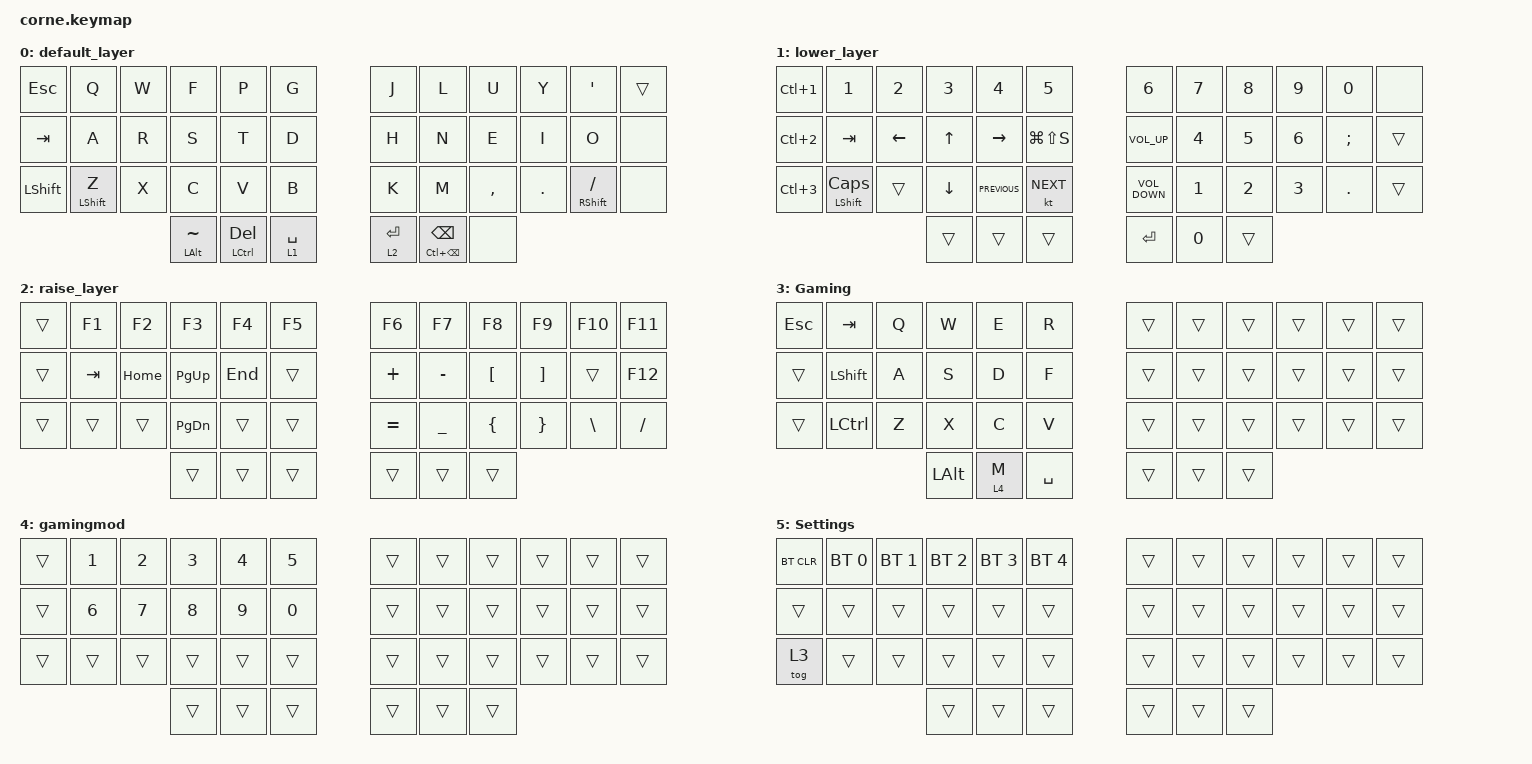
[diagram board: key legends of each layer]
/*
 * Copyright (c) 2020 The ZMK Contributors
 *
 * SPDX-License-Identifier: MIT
 */

#include <dt-bindings/zmk/mouse.h>
#include <behaviors.dtsi>
#include <dt-bindings/zmk/bt.h>
#include <dt-bindings/zmk/keys.h>

/ {
    combos {
        compatible = "zmk,combos";

        esc {
            bindings = <&kp ESC>;
            key-positions = <1 2>;
        };

        settingsmenu {
            bindings = <&mo 5>;
            key-positions = <36 37 38>;
        };

        left_win {
            bindings = <&kp LEFT_WIN>;
            key-positions = <40 39>;
        };

        ctrl_alt_del {
            bindings = <&kp LC(LA(DELETE))>;
            key-positions = <37 29 38 36>;
        };

        mouse_jump {
            bindings = <&kp LG(LS(D))>;
            key-positions = <0 12 24>;
        };

        clear_all_bluetooth {
            bindings = <&bt BT_CLR_ALL>;
            key-positions = <0 1 2 3 4 5 36 37 38>;
        };
    };

    keymap {
        compatible = "zmk,keymap";

        default_layer {
            // -----------------------------------------------------------------------------------------
            // |  TAB |  Q  |  W  |  E  |  R  |  T  |   |  Y  |  U   |  I  |  O  |  P  | BKSP |
            // | CTRL |  A  |  S  |  D  |  F  |  G  |   |  H  |  J   |  K  |  L  |  ;  |  '   |
            // | SHFT |  Z  |  X  |  C  |  V  |  B  |   |  N  |  M   |  ,  |  .  |  /  | ESC  |
            //                    | GUI | LWR | SPC |   | ENT | RSE  | ALT |

            bindings = <
&kp ESC         &kp Q             &kp W  &kp F               &kp P             &kp G          &kp J      &kp L                        &kp U      &kp Y    &kp APOS              &trans
&kp TAB         &kp A             &kp R  &kp S               &kp T             &kp D          &kp H      &kp N                        &kp E      &kp I    &kp O                 &none
&kp LEFT_SHIFT  &mt LEFT_SHIFT Z  &kp X  &kp C               &kp V             &kp B          &kp K      &kp M                        &kp COMMA  &kp DOT  &mt RIGHT_SHIFT FSLH  &none
                                         &mt LEFT_ALT TILDE  &mt LCTRL DELETE  &lt 1 SPACE    &lt 2 RET  &mt LC(BACKSPACE) BACKSPACE  &none
            >;
        };

        lower_layer {
            // -----------------------------------------------------------------------------------------
            // |  TAB |  1  |  2  |  3  |  4  |  5  |   |  6  |  7  |  8  |  9  |  0  | BKSP |
            // | BTCLR| BT1 | BT2 | BT3 | BT4 | BT5 |   | LFT | DWN |  UP | RGT |     |      |
            // | SHFT |     |     |     |     |     |   |     |     |     |     |     |      |
            //                    | GUI |     | SPC |   | ENT |     | ALT |

            bindings = <
&kp LC(NUMBER_1)  &kp N1               &kp N2          &kp N3          &kp N4           &kp N5           &kp N6             &kp N7  &kp N8  &kp N9  &kp N0      &none
&kp LC(NUMBER_2)  &kp TAB              &kp LEFT_ARROW  &kp UP          &kp RIGHT_ARROW  &kp LG(LS(S))    &kp C_VOLUME_UP    &kp N4  &kp N5  &kp N6  &kp SEMI    &trans
&kp LC(NUMBER_3)  &mt LEFT_SHIFT CAPS  &trans          &kp DOWN_ARROW  &kp C_PREVIOUS   &kt C_NEXT       &kp C_VOLUME_DOWN  &kp N1  &kp N2  &kp N3  &kp PERIOD  &trans
                                                       &trans          &trans           &trans           &kp RET            &kp N0  &trans
            >;
        };

        raise_layer {
            // -----------------------------------------------------------------------------------------
            // |  TAB |  !  |  @  |  #  |  $  |  %  |   |  ^  |  &  |  *  |  (  |  )  | BKSP |
            // | CTRL |     |     |     |     |     |   |  -  |  =  |  [  |  ]  |  \  |  `   |
            // | SHFT |     |     |     |     |     |   |  _  |  +  |  {  |  }  | "|" |  ~   |
            //                    | GUI |     | SPC |   | ENT |     | ALT |

            bindings = <
&trans  &kp F1   &kp F2    &kp F3         &kp F4   &kp F5    &kp F6     &kp F7     &kp F8            &kp F9             &kp F10        &kp F11
&trans  &kp TAB  &kp HOME  &kp PG_UP      &kp END  &trans    &kp PLUS   &kp MINUS  &kp LEFT_BRACKET  &kp RIGHT_BRACKET  &trans         &kp F12
&trans  &trans   &trans    &kp PAGE_DOWN  &trans   &trans    &kp EQUAL  &kp UNDER  &kp LEFT_BRACE    &kp RIGHT_BRACE    &kp BACKSLASH  &kp SLASH
                           &trans         &trans   &trans    &trans     &trans     &trans
            >;
        };

        Gaming {
            bindings = <
&kp ESCAPE  &kp TAB           &kp Q  &kp W         &kp E    &kp R        &trans  &trans  &trans  &trans  &trans  &trans
&trans      &kp LEFT_SHIFT    &kp A  &kp S         &kp D    &kp F        &trans  &trans  &trans  &trans  &trans  &trans
&trans      &kp LEFT_CONTROL  &kp Z  &kp X         &kp C    &kp V        &trans  &trans  &trans  &trans  &trans  &trans
                                     &kp LEFT_ALT  &lt 4 M  &kp SPACE    &trans  &trans  &trans
            >;
        };

        gamingmod {
            bindings = <
&trans  &kp NUMBER_1  &kp NUMBER_2  &kp NUMBER_3  &kp NUMBER_4  &kp NUMBER_5    &trans  &trans  &trans  &trans  &trans  &trans
&trans  &kp NUMBER_6  &kp NUMBER_7  &kp NUMBER_8  &kp NUMBER_9  &kp NUMBER_0    &trans  &trans  &trans  &trans  &trans  &trans
&trans  &trans        &trans        &trans        &trans        &trans          &trans  &trans  &trans  &trans  &trans  &trans
                                    &trans        &trans        &trans          &trans  &trans  &trans
            >;
        };

        Settings {
            bindings = <
&bt BT_CLR  &bt BT_SEL 0  &bt BT_SEL 1  &bt BT_SEL 2  &bt BT_SEL 3  &bt BT_SEL 4    &trans  &trans  &trans  &trans  &trans  &trans
&trans      &trans        &trans        &trans        &trans        &trans          &trans  &trans  &trans  &trans  &trans  &trans
&tog 3      &trans        &trans        &trans        &trans        &trans          &trans  &trans  &trans  &trans  &trans  &trans
                                        &trans        &trans        &trans          &trans  &trans  &trans
            >;
        };
    };
};
